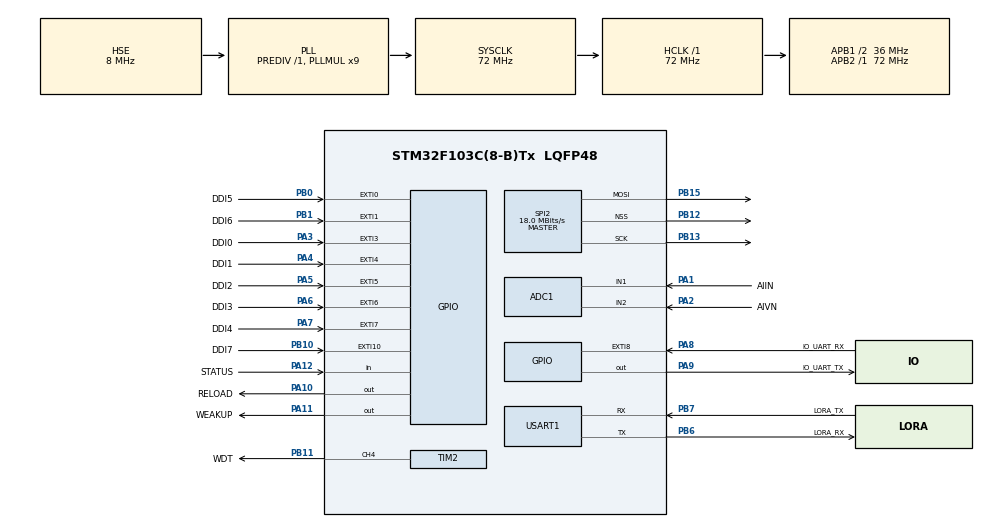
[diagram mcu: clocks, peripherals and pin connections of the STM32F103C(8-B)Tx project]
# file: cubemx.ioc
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ADC1.Channel-0\#ChannelRegularConversion=ADC_CHANNEL_1
ADC1.Channel-1\#ChannelRegularConversion=ADC_CHANNEL_2
ADC1.ContinuousConvMode=ENABLE
ADC1.EnableAnalogWatchDog=true
ADC1.NbrOfConversion=2
ADC1.NbrOfConversionFlag=1
ADC1.Rank-0\#ChannelRegularConversion=1
ADC1.Rank-1\#ChannelRegularConversion=2
ADC1.SamplingTime-0\#ChannelRegularConversion=ADC_SAMPLETIME_71CYCLES_5
ADC1.SamplingTime-1\#ChannelRegularConversion=ADC_SAMPLETIME_71CYCLES_5
ADC1.WatchdogChannel=ADC_CHANNEL_2
ADC1.master=1
Dma.ADC1.0.Direction=DMA_PERIPH_TO_MEMORY
Dma.ADC1.0.Instance=DMA1_Channel1
Dma.ADC1.0.MemDataAlignment=DMA_MDATAALIGN_WORD
Dma.ADC1.0.MemInc=DMA_MINC_ENABLE
Dma.ADC1.0.Mode=DMA_CIRCULAR
Dma.ADC1.0.PeriphDataAlignment=DMA_PDATAALIGN_WORD
Dma.ADC1.0.PeriphInc=DMA_PINC_DISABLE
Dma.ADC1.0.Priority=DMA_PRIORITY_HIGH
Dma.Request0=ADC1
Dma.Request1=USART1_RX
Dma.Request2=USART1_TX
Dma.USART1_RX.1.Direction=DMA_PERIPH_TO_MEMORY
Dma.USART1_RX.1.Instance=DMA1_Channel5
Dma.USART1_RX.1.MemDataAlignment=DMA_MDATAALIGN_BYTE
Dma.USART1_RX.1.MemInc=DMA_MINC_ENABLE
Dma.USART1_RX.1.Mode=DMA_NORMAL
Dma.USART1_RX.1.PeriphDataAlignment=DMA_PDATAALIGN_BYTE
Dma.USART1_RX.1.PeriphInc=DMA_PINC_DISABLE
Dma.USART1_RX.1.Priority=DMA_PRIORITY_MEDIUM
Dma.USART1_TX.2.Direction=DMA_MEMORY_TO_PERIPH
Dma.USART1_TX.2.Instance=DMA1_Channel4
Dma.USART1_TX.2.MemDataAlignment=DMA_MDATAALIGN_BYTE
Dma.USART1_TX.2.MemInc=DMA_MINC_ENABLE
Dma.USART1_TX.2.Mode=DMA_NORMAL
Dma.USART1_TX.2.PeriphDataAlignment=DMA_PDATAALIGN_BYTE
Dma.USART1_TX.2.PeriphInc=DMA_PINC_DISABLE
Dma.USART1_TX.2.Priority=DMA_PRIORITY_MEDIUM
FREERTOS.BinarySemaphores01=Modbus_Recive,Dynamic,NULL
FREERTOS.Mutexes01=shellMutex,Dynamic,NULL;modbusMutex,Dynamic,NULL
FREERTOS.Queues01=DDIx_Queue,16,uint16_t,0,Dynamic,NULL,NULL
FREERTOS.Tasks01=shell,-2,256,Shell_Task,Default,&shell,Dynamic,NULL,NULL;mdbus,2,256,Mdbus_Task,Default,Modbus_Object,Dynamic,NULL,NULL;read_io,1,128,Read_Io_Task,Default,NULL,Dynamic,NULL,NULL;IWDG,3,64,IWDG_Task,Default,NULL,Dynamic,NULL,NULL
FREERTOS.Timers01=Timer1,Timer_Callback,osTimerPeriodic,Default,NULL,Dynamic,NULL
FREERTOS.configCHECK_FOR_STACK_OVERFLOW=2
FREERTOS.configMINIMAL_STACK_SIZE=64
FREERTOS.configTIMER_TASK_STACK_DEPTH=256
FREERTOS.configTOTAL_HEAP_SIZE=14336
FREERTOS.configUSE_TIMERS=1
IWDG.Prescaler=IWDG_PRESCALER_64
IWDG.Reload=1250
Mcu.Family=STM32F1
Mcu.Name=STM32F103C(8-B)Tx
Mcu.Package=LQFP48
NVIC.DMA1_Channel1_IRQn=true\:5\:0\:true\:false\:true\:true\:false\:true\:true
NVIC.DMA1_Channel4_IRQn=true\:5\:0\:false\:false\:true\:true\:false\:true\:true
NVIC.DMA1_Channel5_IRQn=true\:5\:0\:false\:false\:true\:true\:false\:true\:true
NVIC.EXTI0_IRQn=true\:5\:0\:false\:false\:true\:true\:true\:true\:true
NVIC.EXTI15_10_IRQn=true\:5\:0\:false\:false\:true\:true\:true\:true\:true
NVIC.EXTI1_IRQn=true\:5\:0\:false\:false\:true\:true\:true\:true\:true
NVIC.EXTI3_IRQn=true\:5\:0\:false\:false\:true\:true\:true\:true\:true
NVIC.EXTI4_IRQn=true\:5\:0\:false\:false\:true\:true\:true\:true\:true
NVIC.EXTI9_5_IRQn=true\:3\:0\:true\:false\:true\:false\:true\:true\:true
NVIC.PriorityGroup=NVIC_PRIORITYGROUP_4
NVIC.TIM1_UP_IRQn=true\:0\:0\:false\:false\:true\:false\:false\:true\:true
NVIC.TIM3_IRQn=true\:4\:0\:true\:false\:true\:false\:true\:true\:true
NVIC.TIM4_IRQn=true\:3\:0\:true\:false\:true\:false\:true\:true\:true
NVIC.TimeBase=TIM1_UP_IRQn
NVIC.TimeBaseIP=TIM1
NVIC.USART1_IRQn=true\:5\:0\:true\:false\:true\:true\:true\:true\:true
PA1.GPIO_Label=AIIN
PA1.Signal=ADCx_IN1
PA10.GPIO_Label=RELOAD
PA10.GPIO_PuPd=GPIO_PULLUP
PA10.GPIO_Speed=GPIO_SPEED_FREQ_LOW
PA10.PinState=GPIO_PIN_SET
PA10.Signal=GPIO_Output
PA11.GPIO_Label=WEAKUP
PA11.GPIO_PuPd=GPIO_PULLUP
PA11.PinState=GPIO_PIN_SET
PA11.Signal=GPIO_Output
PA12.GPIO_Label=STATUS
PA12.GPIO_PuPd=GPIO_PULLUP
PA12.Signal=GPIO_Input
PA13.Mode=Serial_Wire
PA13.Signal=SYS_JTMS-SWDIO
PA14.Mode=Serial_Wire
PA14.Signal=SYS_JTCK-SWCLK
PA2.GPIO_Label=AIVN
PA2.Signal=ADCx_IN2
PA3.GPIO_Label=DDI0
PA3.GPIO_ModeDefaultEXTI=GPIO_MODE_IT_FALLING
PA3.Signal=GPXTI3
PA4.GPIO_Label=DDI1
PA4.GPIO_ModeDefaultEXTI=GPIO_MODE_IT_FALLING
PA4.Signal=GPXTI4
PA5.GPIO_Label=DDI2
PA5.GPIO_ModeDefaultEXTI=GPIO_MODE_IT_FALLING
PA5.Signal=GPXTI5
PA6.GPIO_Label=DDI3
PA6.GPIO_ModeDefaultEXTI=GPIO_MODE_IT_FALLING
PA6.Signal=GPXTI6
PA7.GPIO_Label=DDI4
PA7.GPIO_ModeDefaultEXTI=GPIO_MODE_IT_FALLING
PA7.Signal=GPXTI7
PA8.GPIO_Label=IO_UART_RX
PA8.GPIO_ModeDefaultEXTI=GPIO_MODE_IT_FALLING
PA8.GPIO_PuPd=GPIO_PULLUP
PA8.Signal=GPXTI8
PA9.GPIO_Label=IO_UART_TX
PA9.GPIO_PuPd=GPIO_PULLUP
PA9.GPIO_Speed=GPIO_SPEED_FREQ_HIGH
PA9.PinState=GPIO_PIN_SET
PA9.Signal=GPIO_Output
PB0.GPIO_Label=DDI5
PB0.GPIO_ModeDefaultEXTI=GPIO_MODE_IT_FALLING
PB0.GPIO_PuPd=GPIO_PULLUP
PB0.Signal=GPXTI0
PB1.GPIO_Label=DDI6
PB1.GPIO_ModeDefaultEXTI=GPIO_MODE_IT_FALLING
PB1.GPIO_PuPd=GPIO_PULLUP
PB1.Signal=GPXTI1
PB10.GPIO_Label=DDI7
PB10.GPIO_ModeDefaultEXTI=GPIO_MODE_IT_FALLING
PB10.GPIO_PuPd=GPIO_PULLUP
PB10.Signal=GPXTI10
PB11.GPIO_Label=WDT
PB11.Signal=S_TIM2_CH4
PB12.Mode=NSS_Signal_Hard_Output
PB12.Signal=SPI2_NSS
PB13.Mode=TX_Only_Simplex_Unidirect_Master
PB13.Signal=SPI2_SCK
PB15.Mode=TX_Only_Simplex_Unidirect_Master
PB15.Signal=SPI2_MOSI
PB6.GPIO_Label=LORA_RX
PB6.Mode=Asynchronous
PB6.Signal=USART1_TX
PB7.GPIO_Label=LORA_TX
PB7.GPIO_PuPd=GPIO_PULLUP
PB7.Mode=Asynchronous
PB7.Signal=USART1_RX
PC14-OSC32_IN.Mode=LSE-External-Oscillator
PC14-OSC32_IN.Signal=RCC_OSC32_IN
PC15-OSC32_OUT.Mode=LSE-External-Oscillator
PC15-OSC32_OUT.Signal=RCC_OSC32_OUT
PD0-OSC_IN.Mode=HSE-External-Oscillator
PD0-OSC_IN.Signal=RCC_OSC_IN
PD1-OSC_OUT.Mode=HSE-External-Oscillator
PD1-OSC_OUT.Signal=RCC_OSC_OUT
ProjectManager.HeapSize=0x0
ProjectManager.StackSize=0x800
ProjectManager.TargetToolchain=MDK-ARM V5.27
RCC.ADCPresc=RCC_ADCPCLK2_DIV6
RCC.AHBFreq_Value=72000000
RCC.APB1CLKDivider=RCC_HCLK_DIV2
RCC.APB1Freq_Value=36000000
RCC.APB1TimFreq_Value=72000000
RCC.APB2Freq_Value=72000000
RCC.APB2TimFreq_Value=72000000
RCC.HCLKFreq_Value=72000000
RCC.PLLMUL=RCC_PLL_MUL9
RCC.PLLSourceVirtual=RCC_PLLSOURCE_HSE
RCC.SYSCLKFreq_VALUE=72000000
RCC.SYSCLKSource=RCC_SYSCLKSOURCE_PLLCLK
RCC.USBFreq_Value=72000000
RealThread.RT-Thread.3.1.5.RT_DEBUG_INIT=0
RealThread.RT-Thread.3.1.5.RT_MAIN_THREAD_STACK_SIZE=512
RealThread.RT-Thread.3.1.5.RT_USING_CONSOLE=1
RealThread.RT-Thread.3.1.5.RT_USING_HEAP=1
RealThread.RT-Thread.3.1.5.RT_USING_MUTEX=1
RealThread.RT-Thread.3.1.5.RT_USING_OVERFLOW_CHECK=1
RealThread.RT-Thread.3.1.5.RT_USING_TIMER_SOFT=1
SH.ADCx_IN1.0=ADC2_IN1
SH.ADCx_IN1.1=ADC1_IN1,IN1
SH.ADCx_IN2.0=ADC2_IN2
SH.ADCx_IN2.1=ADC1_IN2,IN2
SH.S_TIM2_CH4.0=TIM2_CH4,PWM Generation4 CH4
SPI2.CalculateBaudRate=18.0 MBits/s
SPI2.Direction=SPI_DIRECTION_2LINES
SPI2.Mode=SPI_MODE_MASTER
SPI2.VirtualNSS=VM_NSSHARD
SPI2.VirtualType=VM_MASTER
TIM2.AutoReloadPreload=TIM_AUTORELOAD_PRELOAD_ENABLE
TIM2.Channel-PWM\ Generation4\ CH4=TIM_CHANNEL_4
TIM2.Period=10000-1
TIM2.Prescaler=7200-1
TIM2.Pulse-PWM\ Generation4\ CH4=5000
TIM3.AutoReloadPreload=TIM_AUTORELOAD_PRELOAD_DISABLE
TIM3.Prescaler=72-1
TIM3.TIM_MasterOutputTrigger=TIM_TRGO_RESET
TIM4.AutoReloadPreload=TIM_AUTORELOAD_PRELOAD_DISABLE
TIM4.Prescaler=72-1
USART1.VirtualMode=VM_ASYNC
VP_FREERTOS_VS_CMSIS_V1.Mode=CMSIS_V1
VP_IWDG_VS_IWDG.Mode=IWDG_Activate
VP_SYS_VS_tim1.Mode=TIM1
VP_TIM2_VS_ClockSourceINT.Mode=Internal
VP_TIM3_VS_ClockSourceINT.Mode=Internal
VP_TIM4_VS_ClockSourceINT.Mode=Internal
board=custom

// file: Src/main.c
/* USER CODE BEGIN Header */
/**
 ******************************************************************************
 * @file           : main.c
 * @brief          : Main program body
 ******************************************************************************
 * @attention
 *
 * <h2><center>&copy; Copyright (c) 2022 STMicroelectronics.
 * All rights reserved.</center></h2>
 *
 * This software component is licensed by ST under BSD 3-Clause license,
 * the "License"; You may not use this file except in compliance with the
 * License. You may obtain a copy of the License at:
 *                        opensource.org/licenses/BSD-3-Clause
 *
 ******************************************************************************
 */
/* USER CODE END Header */
#include "main.h"
#include "cmsis_os.h"
#include "adc.h"
#include "dma.h"
#include "iwdg.h"
#include "spi.h"
#include "tim.h"
#include "usart.h"
#include "gpio.h"

/* USER CODE BEGIN Includes */
#include "shell_port.h"
// #include "mdrtuslave.h"
#include "io_uart.h"
#include "io_signal.h"
/* USER CODE END Includes */

/* USER CODE BEGIN PTD */
/* USER CODE BEGIN PTD */
extern void MX_RT_Thread_Init(void);
/* USER CODE END PTD */

void SystemClock_Config(void);
void MX_FREERTOS_Init(void);

int main(void)
{

  /* MCU Configuration--------------------------------------------------------*/

  /* Reset of all peripherals, Initializes the Flash interface and the Systick. */
  HAL_Init();

  /* Configure the system clock */
  SystemClock_Config();

  /* Initialize all configured peripherals */
  MX_GPIO_Init();
  MX_DMA_Init();
  MX_ADC1_Init();
  MX_SPI2_Init();
  MX_TIM2_Init();
  MX_USART1_UART_Init();
  MX_TIM3_Init();
  MX_TIM4_Init();
  MX_IWDG_Init();
  /* USER CODE BEGIN 2 */
#if defined(USING_IO_UART)
  // HAL_Delay(500);
  MX_Suart_Init();
#endif
  // User_Shell_Init(Shell_Object);
  //   ModbusInit(&Master_Object);
  //   /*DMA buffer must point to an entity address!!!*/
  //   HAL_UART_Receive_DMA(&huart1, mdRTU_Recive_Buf(Master_Object), MODBUS_PDU_SIZE_MAX);
  //   // Slist_Init();
  // #if defined(USING_RTTHREAD)
  //   MX_RT_Thread_Init();
  // #endif
  /*Only ADC1 channel 0 uses DMA*/
  /*Start hardware watchdog*/
  HAL_TIM_PWM_Start(&htim2, TIM_CHANNEL_4);
  // HAL_ADC_Start_DMA(&hadc1, (uint32_t *)Adc_buffer, ADC_DMA_SIZE);
  /* USER CODE END 2 */

  /* Call init function for freertos objects (in freertos.c) */
  MX_FREERTOS_Init();

  /* Start scheduler */
  osKernelStart();

  /* We should never get here as control is now taken by the scheduler */
  /* Infinite loop */
  /* USER CODE BEGIN WHILE */
  while (1)
  {
    /*After the main thread runs, it is automatically deleted by the operating system*/
    /* USER CODE END WHILE */

  }
}

void SystemClock_Config(void)
{
  RCC_OscInitTypeDef RCC_OscInitStruct = {0};
  RCC_ClkInitTypeDef RCC_ClkInitStruct = {0};
  RCC_PeriphCLKInitTypeDef PeriphClkInit = {0};

  /** Initializes the RCC Oscillators according to the specified parameters
   * in the RCC_OscInitTypeDef structure.
   */
  RCC_OscInitStruct.OscillatorType = RCC_OSCILLATORTYPE_LSI | RCC_OSCILLATORTYPE_HSE;
  RCC_OscInitStruct.HSEState = RCC_HSE_ON;
  RCC_OscInitStruct.HSEPredivValue = RCC_HSE_PREDIV_DIV1;
  RCC_OscInitStruct.HSIState = RCC_HSI_ON;
  RCC_OscInitStruct.LSIState = RCC_LSI_ON;
  RCC_OscInitStruct.PLL.PLLState = RCC_PLL_ON;
  RCC_OscInitStruct.PLL.PLLSource = RCC_PLLSOURCE_HSE;
  RCC_OscInitStruct.PLL.PLLMUL = RCC_PLL_MUL9;
  if (HAL_RCC_OscConfig(&RCC_OscInitStruct) != HAL_OK)
  {
    Error_Handler();
  }

  /** Initializes the CPU, AHB and APB buses clocks
   */
  RCC_ClkInitStruct.ClockType = RCC_CLOCKTYPE_HCLK | RCC_CLOCKTYPE_SYSCLK | RCC_CLOCKTYPE_PCLK1 | RCC_CLOCKTYPE_PCLK2;
  RCC_ClkInitStruct.SYSCLKSource = RCC_SYSCLKSOURCE_PLLCLK;
  RCC_ClkInitStruct.AHBCLKDivider = RCC_SYSCLK_DIV1;
  RCC_ClkInitStruct.APB1CLKDivider = RCC_HCLK_DIV2;
  RCC_ClkInitStruct.APB2CLKDivider = RCC_HCLK_DIV1;

  if (HAL_RCC_ClockConfig(&RCC_ClkInitStruct, FLASH_LATENCY_2) != HAL_OK)
  {
    Error_Handler();
  }
  PeriphClkInit.PeriphClockSelection = RCC_PERIPHCLK_ADC;
  PeriphClkInit.AdcClockSelection = RCC_ADCPCLK2_DIV6;
  if (HAL_RCCEx_PeriphCLKConfig(&PeriphClkInit) != HAL_OK)
  {
    Error_Handler();
  }
}

void HAL_TIM_PeriodElapsedCallback(TIM_HandleTypeDef *htim)
{
  /* USER CODE BEGIN Callback 0 */
  IoUart_HandleTypeDef *huart = &S_Uart1;
  static uint8_t Samp_Bits = 0;
  // uint8_t *p = &huart->Tx.pBuf[0];
  /* USER CODE END Callback 0 */
  if (htim->Instance == TIM1)
  {
    HAL_IncTick();
  }
  /* USER CODE BEGIN Callback 1 */
  else if (htim->Instance == TIM3)
  { /*Data transmission, transmission priority, no transmission before entering the receiving state*/
    if (huart->Tx.En)
    { /*Serial port sending bit status judgment*/
      switch (huart->Tx.Status)
      {
      case COM_START_BIT:
      {
        HAL_GPIO_WritePin(IO_UART_TX_GPIO_Port, IO_UART_TX_Pin, GPIO_PIN_RESET);
        huart->Tx.Status = COM_DATA_BIT;
        huart->Tx.Bits = 0U;
      }
      break;
      case COM_DATA_BIT:
      {
        HAL_GPIO_WritePin(IO_UART_TX_GPIO_Port, IO_UART_TX_Pin, (GPIO_PinState)((*(huart->Tx.pBuf) >> huart->Tx.Bits) & 0x01));

        if (++huart->Tx.Bits >= 8U)
        {
          huart->Tx.Status = huart->Check_Type ? COM_CHECK_BIT : COM_STOP_BIT;
        }
      }
      break;
      case COM_CHECK_BIT:
      {
      }
      break;
      case COM_STOP_BIT:
      {
        HAL_GPIO_WritePin(IO_UART_TX_GPIO_Port, IO_UART_TX_Pin, GPIO_PIN_SET);
        huart->Tx.Bits = 0U;
        if (--huart->Tx.Len)
        {
          huart->Tx.Status = COM_START_BIT;
          huart->Tx.pBuf++;
        }
        else
        {
          huart->Tx.Status = COM_NONE_BIT;
          huart->Tx.En = false;
          huart->Rx.En = true;
          HAL_TIM_Base_Stop_IT(huart->Tx.Timer_Handle);
          __HAL_TIM_SET_COUNTER(huart->Tx.Timer_Handle, 0U);
          /*清除外部中断线挂起寄存器*/
          __HAL_GPIO_EXTI_CLEAR_IT(IO_UART_RX_Pin);
          HAL_NVIC_EnableIRQ(huart->Rx.IRQn);
          huart->Tx.Finsh_Flag = true;
        }
      }
      break;
      default:
        break;
      }
    }
  }
  else if (htim->Instance == TIM4)
  {
    if (huart->Rx.En)
    {
      switch (huart->Rx.Status)
      {
      case COM_START_BIT:
      {
        Samp_Bits = (Samp_Bits << 1U) | (HAL_GPIO_ReadPin(IO_UART_RX_GPIO_Port, IO_UART_RX_Pin) & 0x01);

        if (++huart->Rx.Filters >= MAX_SAMPING)
        {
          if (!Get_ValidBits(Samp_Bits))
          {
            huart->Rx.Status = COM_DATA_BIT;
            __HAL_TIM_SET_AUTORELOAD(huart->Rx.Timer_Handle, huart->Rx.Sam_Times[huart->Rx.Filters]);
          }
          else
          {
            huart->Rx.Status = COM_STOP_BIT;
          }
          Samp_Bits = 0U;
          huart->Rx.Filters = 0U;
        }
        else
        {
          __HAL_TIM_SET_AUTORELOAD(huart->Rx.Timer_Handle, huart->Rx.Sam_Times[huart->Rx.Filters]);
        }
      }
      break;
      case COM_DATA_BIT: /*Data bit*/
      {
        Samp_Bits = (Samp_Bits << 1U) | (HAL_GPIO_ReadPin(IO_UART_RX_GPIO_Port, IO_UART_RX_Pin) & 0x01);

        if (++huart->Rx.Filters >= MAX_SAMPING)
        {
          huart->Rx.Data |= (Get_ValidBits(Samp_Bits) & 0x01) << huart->Rx.Bits;
          if (huart->Rx.Bits >= 7U)
          {
            huart->Rx.Bits = 0;
            huart->Rx.Status = huart->Check_Type ? COM_CHECK_BIT : COM_STOP_BIT;
          }
          else
          {
            huart->Rx.Bits++;
          }
          __HAL_TIM_SET_AUTORELOAD(huart->Rx.Timer_Handle, huart->Rx.Sam_Times[huart->Rx.Filters]);
          huart->Rx.Filters = 0U;
          Samp_Bits = 0U;
        }
        else
        {
          __HAL_TIM_SET_AUTORELOAD(huart->Rx.Timer_Handle, huart->Rx.Sam_Times[huart->Rx.Filters]);
        }
      }
      break;
      case COM_CHECK_BIT: /*Check bit*/
      {
        huart->Rx.Status = COM_NONE_BIT;
      }
      break;
      case COM_STOP_BIT: /*stop bit*/
      {
        Samp_Bits = (Samp_Bits << 1U) | (HAL_GPIO_ReadPin(IO_UART_RX_GPIO_Port, IO_UART_RX_Pin) & 0x01);

        if (++huart->Rx.Filters >= MAX_SAMPING)
        { /*Stop bit received correctly*/
          if (Get_ValidBits(Samp_Bits))
          {
            huart->Rx.Len++;
            huart->Rx.Status = COM_NONE_BIT;
            // huart->Rx.En = true;
            // huart->Tx.En = false; ///
            HAL_TIM_Base_Stop_IT(huart->Rx.Timer_Handle);
            __HAL_TIM_SET_COUNTER(huart->Rx.Timer_Handle, 0U);
            // HAL_NVIC_EnableIRQ(huart->Rx.IRQn);
            /*Two interrupts are generated when one data is received?*/
            // huart->Rx.Finsh_Flag ^= true;
            huart->Rx.Finsh_Flag = true;
          }
          huart->Rx.Filters = 0U;
          Samp_Bits = 0U;
        }
        else
        {
          __HAL_TIM_SET_AUTORELOAD(huart->Rx.Timer_Handle, huart->Rx.Sam_Times[huart->Rx.Filters]);
        }
      }
      break;
      default:
        break;
      }
    }
  }
  /* USER CODE END Callback 1 */
}

void Error_Handler(void)
{
  __disable_irq();
  while (1)
  {
  }
}

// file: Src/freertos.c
/* USER CODE BEGIN Header */
/**
 ******************************************************************************
 * File Name          : freertos.c
 * Description        : Code for freertos applications
 ******************************************************************************
 * @attention
 *
 * <h2><center>&copy; Copyright (c) 2022 STMicroelectronics.
 * All rights reserved.</center></h2>
 *
 * This software component is licensed by ST under Ultimate Liberty license
 * SLA0044, the "License"; You may not use this file except in compliance with
 * the License. You may obtain a copy of the License at:
 *                             www.st.com/SLA0044
 *
 ******************************************************************************
 */
/* USER CODE END Header */

#include "FreeRTOS.h"
#include "task.h"
#include "main.h"
#include "cmsis_os.h"

/* USER CODE BEGIN Includes */
#include "shell.h"
#include "shell_port.h"
#include "at_usr.h"
// #include "io_signal.h"
#include "io_uart.h"
// #include "at.h"
#include "small_modbus_port.h"
/* USER CODE END Includes */

/* USER CODE BEGIN PTD */
bool g_At = false;
SHELL_EXPORT_VAR(SHELL_CMD_PERMISSION(0) |
                     SHELL_CMD_TYPE(SHELL_TYPE_VAR_INT),
                 g_at, &g_At, at_cmd);
/* USER CODE END PTD */

osThreadId shellHandle;
osThreadId mdbusHandle;
osThreadId read_ioHandle;
osThreadId IWDGHandle;
osMessageQId DDIx_QueueHandle;
osTimerId Timer1Handle;
osMutexId shellMutexHandle;
osMutexId modbusMutexHandle;
osSemaphoreId Modbus_ReciveHandle;

void Shell_Task(void const *argument);
void Mdbus_Task(void const *argument);
void Read_Io_Task(void const *argument);
void IWDG_Task(void const *argument);
void Timer_Callback(void const *argument);

void MX_FREERTOS_Init(void); /* (MISRA C 2004 rule 8.1) */

/* GetIdleTaskMemory prototype (linked to static allocation support) */
void vApplicationGetIdleTaskMemory(StaticTask_t **ppxIdleTaskTCBBuffer, StackType_t **ppxIdleTaskStackBuffer, uint32_t *pulIdleTaskStackSize);

/* GetTimerTaskMemory prototype (linked to static allocation support) */
void vApplicationGetTimerTaskMemory(StaticTask_t **ppxTimerTaskTCBBuffer, StackType_t **ppxTimerTaskStackBuffer, uint32_t *pulTimerTaskStackSize);

/* Hook prototypes */
void vApplicationStackOverflowHook(xTaskHandle xTask, signed char *pcTaskName);

/* USER CODE BEGIN 4 */
__weak void vApplicationStackOverflowHook(xTaskHandle xTask, signed char *pcTaskName)
{
  /* Run time stack overflow checking is performed if
  configCHECK_FOR_STACK_OVERFLOW is defined to 1 or 2. This hook function is
  called if a stack overflow is detected. */
  shellPrint(&shell, "%s is stack overflow!\r\n", pcTaskName);
}
/* USER CODE END 4 */

/* USER CODE BEGIN GET_IDLE_TASK_MEMORY */
static StaticTask_t xIdleTaskTCBBuffer;
static StackType_t xIdleStack[configMINIMAL_STACK_SIZE];

void vApplicationGetIdleTaskMemory(StaticTask_t **ppxIdleTaskTCBBuffer, StackType_t **ppxIdleTaskStackBuffer, uint32_t *pulIdleTaskStackSize)
{
  *ppxIdleTaskTCBBuffer = &xIdleTaskTCBBuffer;
  *ppxIdleTaskStackBuffer = &xIdleStack[0];
  *pulIdleTaskStackSize = configMINIMAL_STACK_SIZE;
  /* place for user code */
}
/* USER CODE END GET_IDLE_TASK_MEMORY */

/* USER CODE BEGIN GET_TIMER_TASK_MEMORY */
static StaticTask_t xTimerTaskTCBBuffer;
static StackType_t xTimerStack[configTIMER_TASK_STACK_DEPTH];

void vApplicationGetTimerTaskMemory(StaticTask_t **ppxTimerTaskTCBBuffer, StackType_t **ppxTimerTaskStackBuffer, uint32_t *pulTimerTaskStackSize)
{
  *ppxTimerTaskTCBBuffer = &xTimerTaskTCBBuffer;
  *ppxTimerTaskStackBuffer = &xTimerStack[0];
  *pulTimerTaskStackSize = configTIMER_TASK_STACK_DEPTH;
  /* place for user code */
}
/* USER CODE END GET_TIMER_TASK_MEMORY */

void MX_FREERTOS_Init(void)
{
  /* USER CODE BEGIN Init */
  User_Shell_Init(Shell_Object);
  MX_ModbusInit();
  /* USER CODE END Init */
  /* Create the mutex(es) */
  /* definition and creation of shellMutex */
  osMutexDef(shellMutex);
  shellMutexHandle = osMutexCreate(osMutex(shellMutex));

  /* definition and creation of modbusMutex */
  osMutexDef(modbusMutex);
  modbusMutexHandle = osMutexCreate(osMutex(modbusMutex));

  /* Create the semaphores(s) */
  /* definition and creation of Modbus_Recive */
  osSemaphoreDef(Modbus_Recive);
  Modbus_ReciveHandle = osSemaphoreCreate(osSemaphore(Modbus_Recive), 1);

  /* Create the timer(s) */
  /* definition and creation of Timer1 */
  osTimerDef(Timer1, Timer_Callback);
  Timer1Handle = osTimerCreate(osTimer(Timer1), osTimerPeriodic, NULL);

  /* Create the queue(s) */
  /* definition and creation of DDIx_Queue */
  osMessageQDef(DDIx_Queue, 16, uint16_t);
  DDIx_QueueHandle = osMessageCreate(osMessageQ(DDIx_Queue), NULL);

  /* Create the thread(s) */
  /* definition and creation of shell */
  osThreadDef(shell, Shell_Task, osPriorityLow, 0, 256);
  shellHandle = osThreadCreate(osThread(shell), (void *)&shell);

  /* definition and creation of mdbus */
  osThreadDef(mdbus, Mdbus_Task, osPriorityHigh, 0, 256);
  mdbusHandle = osThreadCreate(osThread(mdbus), (void *)Modbus_Object);

  /* definition and creation of read_io */
  osThreadDef(read_io, Read_Io_Task, osPriorityAboveNormal, 0, 128);
  read_ioHandle = osThreadCreate(osThread(read_io), NULL);

  /* definition and creation of IWDG */
  osThreadDef(IWDG, IWDG_Task, osPriorityRealtime, 0, 64);
  IWDGHandle = osThreadCreate(osThread(IWDG), NULL);

  /* USER CODE BEGIN RTOS_THREADS */
  osTimerStart(Timer1Handle, MDTASK_SENDTIMES);
  /*Suspend shell task*/
#if defined(USING_L101)
  osThreadSuspend(shellHandle);
#endif
  /* add threads, ... */
  /* USER CODE END RTOS_THREADS */
}

void Shell_Task(void const *argument)
{
  /* USER CODE BEGIN Shell_Task */
  // HAL_NVIC_DisableIRQ(TIM1_UP_IRQn);
  HAL_NVIC_DisableIRQ(TIM3_IRQn);
  HAL_NVIC_DisableIRQ(TIM4_IRQn);
  HAL_NVIC_DisableIRQ(EXTI9_5_IRQn);
  // HAL_NVIC_SetPriority(TIM1_UP_IRQn, 8, 0);
  HAL_NVIC_SetPriority(TIM3_IRQn, 6, 0);
  HAL_NVIC_SetPriority(TIM4_IRQn, 7, 0);
  HAL_NVIC_SetPriority(EXTI9_5_IRQn, 7, 0);
  // HAL_NVIC_EnableIRQ(TIM1_UP_IRQn);
  HAL_NVIC_EnableIRQ(TIM3_IRQn);
  HAL_NVIC_EnableIRQ(TIM4_IRQn);
  HAL_NVIC_EnableIRQ(EXTI9_5_IRQn);
#if !defined(USING_ASHINING)
#if !defined(USING_TRANSPARENT_MODE)
  At_GetSlaveId();
#endif
#endif
  // DDIx.pQueue = DDIx_QueueHandle;
  /* Infinite loop */
  for (;;)
  {
#if defined(USING_DEBUG)
    // shellPrint(&shell, "shell_Task is running !\r\n");
    // osDelay(1000);
#endif
    shellTask((void *)argument);
  }
  /* USER CODE END Shell_Task */
}

/* USER CODE BEGIN Header_Mdbus_Task */
/**
 * @brief	rt_thread 初始化目标串口的串口空闲中断+DMA接收
 * @details 乒乓缓冲实现方式：https://www.cnblogs.com/puyu9495/p/15914090.html
 * @param	puart Uartx handle
 * @param p_semaphore signal handler
 * @retval  none
 */
static void free_rtos_hal_uartx_dma_info_init(void *p_semaphore, pUartHandle puart)
{
  /*Initialize target serial port DMA configuration*/
  if (puart && puart->huart && puart->phdma && puart->rx.pbuf)
  {
    __HAL_UART_ENABLE_IT((UART_HandleTypeDef *)puart->huart, UART_IT_IDLE);
    /*DMA buffer must point to an entity address!!!*/
    HAL_UART_Receive_DMA((UART_HandleTypeDef *)puart->huart, puart->rx.pbuf, puart->rx.size);
    puart->rx.count = 0;
    memset(puart->rx.pbuf, 0x00, puart->rx.size);
  }
  if (p_semaphore)
    puart->semaphore = p_semaphore;
}

#define USING_REPEATER_MODE 1
#if (USING_REPEATER_MODE)
/**
 * @brief	获取Lora模块当前是否空闲
 * @details	无线发�?�数据时拉低，用于指示发送繁忙状�??
 * @param	None
 * @retval	ture/fale
 */
bool inline Get_L101_Status(void)
{
  return ((bool)HAL_GPIO_ReadPin(STATUS_GPIO_Port, STATUS_Pin));
}

static void Relay_Mode_Haldle(MdbusHandle *const pd)
{
  if (smd_rx_count(pd) < 5U)
    return;

  uint8_t direction = Get_Smodus_id() & 0x80;
  smd_tx_count(pd) = smd_rx_count(pd) + 3U;

  memset(smd_tx_buf, 0x00, smd_tx_size(pd));

  /*A->B*/
  if (direction)
  { /*去掉方向*/
    smd_rx_buf[0] &= 0x7F;
    /*地址和信道相�??:与从机id号不同，偏移1位，中继器占�??*/
    smd_tx_buf[1] = smd_tx_buf[2] = smd_rx_buf[0] + 1U;
  }
  memcpy(&smd_tx_buf[3U], smd_rx_buf, smd_rx_count(pd));

  /*B->A:全部�??0*/
  while (!Get_L101_Status())
  {
    osDelay(1);
  }
  pd->Mod_Transmit(pd, NotUsedCrc);
}

#endif

/**
 * @brief Function implementing the mdbus thread.
 * @param argument: Not used
 * @retval None
 */
/* USER CODE END Header_Mdbus_Task */
void Mdbus_Task(void const *argument)
{
  /* USER CODE BEGIN Mdbus_Task */
  pModbusHandle pd = (pModbusHandle)argument;
  while (NULL == pd)
    ;
  free_rtos_hal_uartx_dma_info_init(Modbus_ReciveHandle, &pd->Uart);
  /*The number of resources available after the creation of binary semaphore is 1,
  which needs to be released first*/
  osSemaphoreWait(pd->Uart.semaphore, osWaitForever);
  /* Infinite loop */
  for (;;)
  {
    /*https://www.cnblogs.com/w-smile/p/11333950.html*/
    if (osOK == osSemaphoreWait(pd->Uart.semaphore, osWaitForever))
    {
      // extern bool g_LoraMutex;
      // if (!g_LoraMutex)
      {
#if (USING_REPEATER_MODE)
        Relay_Mode_Haldle(pd);
#else
        small_modbus_handler(pd);
#endif
#undef USING_REPEATER_MODE

#if defined(USING_DEBUG)
        shellWriteEndLine(&shell, "Received a data!\r\n", 19U);
#endif
      }
    }

#if defined(USING_DEBUG)
//     shellPrint(&shell, "Master_Object = 0x%p, ptick = 0x%p\r\n", Master_Object,
//                Master_Object->portRTUTimerTick);
//     osDelay(1000);
#endif

    // osDelay(10);
  }
  /* USER CODE END Mdbus_Task */
}

void Read_Io_Task(void const *argument)
{
  /* USER CODE BEGIN Read_Io_Task */

  /* Infinite loop */
  for (;;)
  {
    osDelay(50);
  }
  /* USER CODE END Read_Io_Task */
}

void IWDG_Task(void const *argument)
{
  /* USER CODE BEGIN IWDG_Task */
  /* Infinite loop */
  for (;;)
  {
    extern IWDG_HandleTypeDef hiwdg;
    HAL_IWDG_Refresh(&hiwdg);
    osDelay(100);
  }
  /* USER CODE END IWDG_Task */
}

/* Timer_Callback function */
void Timer_Callback(void const *argument)
{
  /* USER CODE BEGIN Timer_Callback */
  // Master_Poll();
  /* USER CODE END Timer_Callback */
}
